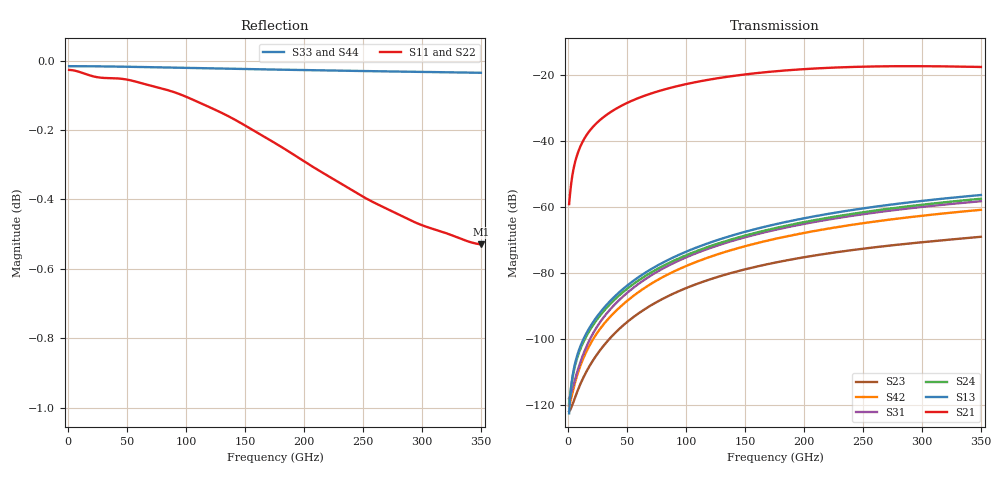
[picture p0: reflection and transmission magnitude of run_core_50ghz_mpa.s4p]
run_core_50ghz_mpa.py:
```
import os
import sys
sys.path.insert(0, os.path.abspath(os.path.join(os.path.dirname(__file__), 'modules')))

import modules.util_stackup_reader as stackup_reader
import util_gds_reader as gds_reader
import util_utilities as utilities
import util_simulation_setup as simulation_setup
import util_meshlines

import os
from pylab import *
from CSXCAD import ContinuousStructure
from CSXCAD import AppCSXCAD_BIN
from openEMS import openEMS
from openEMS.physical_constants import *

# Model comments
# Core of Giovanni PA transistor model, all ports excited for multiport data


# ======================== workflow settings ================================

# preview model/mesh only?
# postprocess existing data without re-running simulation?
preview_only = False    
postprocess_only = False

# ===================== input files and path settings =======================

#gds_filename = "test.gds"      # geometries
gds_filename = "gds_files/50_ghz_mpa_core_no_BJT.gds"      # geometries
XML_filename = "SG13G2.xml"       # stackup

# preprocess GDSII for safe handling of cutouts/holes?
preprocess_gds = False

# merge polygons with distance less than xxx um, or set to 0 to disable via array merging
merge_polygon_size = 0.5

# get path for this simulation file
script_path = utilities.get_script_path(__file__)

# use script filename as model basename
model_basename = utilities.get_basename(__file__)

# set and create directory for simulation output
sim_path = utilities.create_sim_path (script_path,model_basename)
print('Simulation data directory: ', sim_path)


# ======================== simulation settings ================================

unit   = 1e-6   # geometry is in microns
margin = 100    # distance in microns from GDSII geometry boundary to simulation boundary 

fstart = 0
fstop  = 350e9
numfreq = 401

refined_cellsize = 0.3  # mesh cell size in conductor region

# choices for boundary xmin,xmax,ymin,ymax,zmin,zmax: 
# 'PEC' : perfect electric conductor (default)
# 'PMC' : perfect magnetic conductor, useful for symmetries
# 'MUR' : simple MUR absorbing boundary conditions
# 'PML_8' : PML absorbing boundary conditions
Boundaries = ['PML_4', 'PML_4', 'PML_4', 'PML_4', 'PEC', 'PML_4']

cells_per_wavelength = 20   # how many mesh cells per wavelength, must be 10 or more
energy_limit = -50          # end criteria for residual energy (dB)

# ports from GDSII Data, polygon geometry from specified special layer
# note that for multiport simulation, excitations are switched on/off in simulation_setup.createSimulation below
simulation_ports = simulation_setup.all_simulation_ports()
# instead of in-plane port specified with target_layername, we here use via port specified with from_layername and to_layername. GND means bottom of simulation box
simulation_ports.add_port(simulation_setup.simulation_port(portnumber=1, voltage=1, port_Z0=50, source_layernum=201, from_layername='Metal3', to_layername='TopMetal2', direction='z'))
simulation_ports.add_port(simulation_setup.simulation_port(portnumber=2, voltage=1, port_Z0=50, source_layernum=202, from_layername='Metal3', to_layername='TopMetal2', direction='z'))
simulation_ports.add_port(simulation_setup.simulation_port(portnumber=3, voltage=1, port_Z0=50, source_layernum=203, target_layername='Metal2', direction='-x'))
simulation_ports.add_port(simulation_setup.simulation_port(portnumber=4, voltage=1, port_Z0=50, source_layernum=204, target_layername='Metal2', direction='x'))

# ======================== simulation ================================

# get technology stackup data
materials_list, dielectrics_list, metals_list = stackup_reader.read_substrate (XML_filename)
# get list of layers from technology
layernumbers = metals_list.getlayernumbers()
layernumbers.extend(simulation_ports.portlayers)

# read geometries from GDSII, only purpose 0
allpolygons = gds_reader.read_gds(gds_filename, layernumbers, purposelist=[0], metals_list=metals_list, preprocess=preprocess_gds, merge_polygon_size=merge_polygon_size)


# calculate maximum cellsize from wavelength in dielectric
wavelength_air = 3e8/fstop
max_cellsize = (wavelength_air/unit)/(sqrt(materials_list.eps_max)*cells_per_wavelength) 


########### create model, run and post-process ###########


# Create simulation for port 1 .. 4 excitation, return value is data path for that excitation

excite_ports_list = [[1],[2],[3],[4]]  # list of ports that are excited in the different excitation runs
for excite_ports in excite_ports_list:
    # define excitation and stop criteria and boundaries
    FDTD = openEMS(EndCriteria=exp(energy_limit/10 * log(10)))
    FDTD.SetGaussExcite( (fstart+fstop)/2, (fstop-fstart)/2 )
    FDTD.SetBoundaryCond( Boundaries )
    FDTD = simulation_setup.setupSimulation (excite_ports, simulation_ports, FDTD, materials_list, dielectrics_list, metals_list, allpolygons, max_cellsize, refined_cellsize, margin, unit, xy_mesh_function=util_meshlines.create_xy_mesh_from_polygons)
    simulation_setup.runSimulation (excite_ports, FDTD, sim_path, model_basename, preview_only, postprocess_only)


if preview_only==False:

    print('Begin data evaluation')

    # define dB function for S-parameters
    def dB(value):
        return 20.0*np.log10(np.abs(value))        

    # define phase function for S-parameters
    def phase(value):
        return angle(value, deg=True) 

    f = np.linspace(fstart,fstop,numfreq)

    # get results, CSX port definition is read from simulation ports object
    # all S-parameter data is available because we have simulated all port excitations
    s11 = utilities.calculate_Sij (1, 1, f, sim_path, simulation_ports)
    s21 = utilities.calculate_Sij (2, 1, f, sim_path, simulation_ports)
    s31 = utilities.calculate_Sij (3, 1, f, sim_path, simulation_ports)
    s41 = utilities.calculate_Sij (4, 1, f, sim_path, simulation_ports)
    s12 = utilities.calculate_Sij (1, 2, f, sim_path, simulation_ports)
    s22 = utilities.calculate_Sij (2, 2, f, sim_path, simulation_ports)
    s32 = utilities.calculate_Sij (3, 2, f, sim_path, simulation_ports)
    s42 = utilities.calculate_Sij (4, 2, f, sim_path, simulation_ports)
    s13 = utilities.calculate_Sij (1, 3, f, sim_path, simulation_ports)
    s23 = utilities.calculate_Sij (2, 3, f, sim_path, simulation_ports)
    s33 = utilities.calculate_Sij (3, 3, f, sim_path, simulation_ports)
    s43 = utilities.calculate_Sij (4, 3, f, sim_path, simulation_ports)
    s14 = utilities.calculate_Sij (1, 4, f, sim_path, simulation_ports)
    s24 = utilities.calculate_Sij (2, 4, f, sim_path, simulation_ports)
    s34 = utilities.calculate_Sij (3, 4, f, sim_path, simulation_ports)
    s44 = utilities.calculate_Sij (4, 4, f, sim_path, simulation_ports)

    s4p_name = os.path.join(sim_path, model_basename + '.s4p')
    utilities.write_snp (np.array([[s11,s21,s31,s41], [s12,s22,s32,s42], [s13,s23,s33,s43], [s14,s24,s34,s44]]),f, s4p_name)

    print('\nStarting plots')

    figure()
    plot(f/1e9, dB(s21), 'k-',  linewidth=2, label='S11 [dB]')
    grid()
    legend()
    xlabel('Frequency (GHz)')

    figure()
    plot(f/1e9, phase(s21), 'k-',  linewidth=2, label='S11 phase [degree]')
    grid()
    legend()
    xlabel('Frequency (GHz)')


    # Show all plots
    show()
```
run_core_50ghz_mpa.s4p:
#  Hz  S  RI  R  50
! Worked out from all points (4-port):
!   400 points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, 875 MHz to 350 GHz, reference 50 ohm
!   strongest paths, dB at 875 MHz, 88.38 GHz, 175.9 GHz, 263.4 GHz, 350 GHz:
!     S21: -59.0, -23.6, -18.7, -17.2, -17.4
!     S13: -122.4, -75.3, -65.1, -59.6, -56.2
!     S24: -119.4, -76.3, -66.2, -60.8, -57.4
!     S31: -117.9, -77.0, -66.8, -61.4, -58.1
!     S42: -120.1, -79.6, -69.5, -64.1, -60.7
!     S23: -121.8, -86.3, -76.7, -71.9, -68.9
!   lowest |S11| = -0.5 dB at 350 GHz (marker M1), VSWR 32.80, Z = 1.53 - j3.09 ohm
!   |S11| at or under -10 dB: nowhere
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8.75e8  0.9969 -0.00792  0.000882 0.0007  4.51e-07 6.12e-07  -6.87e-07 -1.21e-07
        0.000881 0.0007  0.9969 -0.00777  -8.03e-07 -1.14e-07  9.31e-07 5.33e-07
        1.26e-06 1.76e-07  -1.51e-07 -1.12e-07  -0.9981 3.32e-05  9.88e-05 -1.26e-06
        -3.6e-08 -1.29e-07  9.68e-07 2.18e-07  0.000107 -1.42e-06  -0.9982 3.47e-05
6.9125e10  0.8076 -0.5757  0.0315 0.0419  0.000113 -4.66e-06  -2.95e-05 1.08e-05
           0.0315 0.0419  0.8145 -0.5661  -3e-05 1.1e-05  0.0001 -7.37e-06
           8.24e-05 -3.73e-05  -2.49e-05 1.1e-05  -0.9978 0.00246  4.6e-05 -3.9e-05
           -2.44e-05 9.14e-06  6.3e-05 -2.43e-05  4.85e-05 -4.21e-05  -0.9978 0.00251
3.5e11  -0.9337 -0.1158  0.0175 -0.1333  -8.24e-05 -0.00154  0.000145 0.000317
        0.0168 -0.1335  -0.9267 -0.1671  0.00015 0.000327  -7.91e-05 -0.00135
        -0.000215 -0.00122  0.000117 0.000286  -0.9959 0.00976  1.65e-05 4.2e-05
        0.000103 0.000284  -0.000134 -0.000911  1.88e-05 4.27e-05  -0.9959 0.00991
